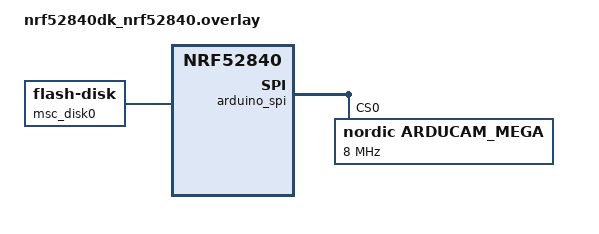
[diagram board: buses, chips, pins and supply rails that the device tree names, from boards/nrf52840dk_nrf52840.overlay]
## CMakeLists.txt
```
# SPDX-License-Identifier: Apache-2.0

# Manually add the arducam_mega module to the sample
list(APPEND ZEPHYR_EXTRA_MODULES
  ${CMAKE_CURRENT_SOURCE_DIR}/../../modules/arducam_mega
  )
  
cmake_minimum_required(VERSION 3.20.0)
find_package(Zephyr REQUIRED HINTS $ENV{ZEPHYR_BASE})
project(mass)

if((NOT CONFIG_DISK_DRIVER_FLASH) AND
   (NOT CONFIG_DISK_DRIVER_RAM) AND
   (NOT CONFIG_DISK_DRIVER_SDMMC))
	message( FATAL_ERROR "No disk access settings detected." )
endif()

FILE(GLOB app_sources src/*.c)
target_sources(app PRIVATE ${app_sources})
```

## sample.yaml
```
sample:
  name: Mass Storage
tests:
  sample.usb.mass_ram_none:
    min_ram: 64
    depends_on: usb_device
    platform_exclude: native_posix native_posix_64
    extra_configs:
        - CONFIG_LOG_DEFAULT_LEVEL=3
    tags: msd usb
    harness: console
    harness_config:
      type: one_line
      regex:
        - "The device is put in USB mass storage mode."
  sample.usb.mass_ram_fat:
    min_ram: 128
    depends_on: usb_device
    platform_exclude: native_posix native_posix_64
    extra_configs:
        - CONFIG_LOG_DEFAULT_LEVEL=3
        - CONFIG_APP_MSC_STORAGE_RAM=y
    tags: msd usb
    harness: console
    harness_config:
      type: one_line
      regex:
        - "The device is put in USB mass storage mode."
  sample.usb.mass_flash_fatfs:
    min_ram: 32
    modules:
      - fatfs
    depends_on: usb_device
    filter: dt_compat_enabled("nordic,qspi-nor")
    platform_allow: nrf52840dk_nrf52840 nrf5340dk_nrf5340_cpuapp
    extra_configs:
        - CONFIG_LOG_DEFAULT_LEVEL=3
        - CONFIG_APP_MSC_STORAGE_FLASH_FATFS=y
    tags: msd usb
    harness: console
    harness_config:
      type: one_line
      regex:
        - "The device is put in USB mass storage mode."
  sample.usb.mass_sdhc_fatfs:
    min_ram: 32
    modules:
      - fatfs
    depends_on: usb_device sdhc
    extra_configs:
        - CONFIG_LOG_DEFAULT_LEVEL=3
        - CONFIG_APP_MSC_STORAGE_SDCARD=y
    tags: msd usb
    harness: console
    harness_config:
      type: one_line
      fixture: fixture_sdcard
      regex:
        - "The device is put in USB mass storage mode."
  sample.usb.mass_flash_littlefs:
    modules:
      - littlefs
    min_ram: 32
    depends_on: usb_device
    filter: dt_compat_enabled("nordic,qspi-nor")
    platform_allow: nrf52840dk_nrf52840 nrf5340dk_nrf5340_cpuapp adafruit_feather_nrf52840
    extra_configs:
        - CONFIG_LOG_DEFAULT_LEVEL=3
        - CONFIG_APP_MSC_STORAGE_FLASH_LITTLEFS=y
    tags: msd usb
    harness: console
    harness_config:
      type: one_line
      regex:
        - "The device is put in USB mass storage mode."
```

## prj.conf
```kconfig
CONFIG_STDOUT_CONSOLE=y

#USB related configs
CONFIG_USB_DEVICE_STACK=y
CONFIG_USB_DEVICE_PRODUCT="Zephyr MSC sample"
CONFIG_LOG=y
CONFIG_USB_DRIVER_LOG_LEVEL_ERR=y
CONFIG_USB_MASS_STORAGE=y
CONFIG_APP_MSC_STORAGE_FLASH_FATFS=y
CONFIG_USB_DEVICE_LOG_LEVEL_ERR=y
CONFIG_USB_MASS_STORAGE_LOG_LEVEL_ERR=y

CONFIG_SPI=y
CONFIG_ARDUCAM_MEGA=y

CONFIG_MAIN_STACK_SIZE=1536
```

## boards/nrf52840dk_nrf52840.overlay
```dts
/*
 * Copyright (c) 2019 Peter Bigot Consulting, LLC
 *
 * SPDX-License-Identifier: Apache-2.0
 */

/delete-node/ &storage_partition;

&mx25r64 {
	partitions {
		compatible = "fixed-partitions";
		#address-cells = <1>;
		#size-cells = <1>;

		storage_partition: partition@0 {
			label = "storage";
			reg = <0x00000000 0x00800000>;
		};
	};
};

/ {
	msc_disk0 {
		compatible = "zephyr,flash-disk";
		partition = <&storage_partition>;
		disk-name = "NAND";
		cache-size = <4096>;
	};
};

&arduino_spi {
	label="ARDUCAM_MEGA";
	arducam_mega: arducam_mega@0 {
		compatible = "nordic,arducam_mega";
		reg = <0>;
		spi-max-frequency=<8000000>;
	};
};
```

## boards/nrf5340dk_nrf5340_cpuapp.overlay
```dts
/*
 * Copyright (c) 2020 Nordic Semiconductor ASA
 *
 * SPDX-License-Identifier: Apache-2.0
 */

/delete-node/ &storage_partition;

&mx25r64 {
	partitions {
		compatible = "fixed-partitions";
		#address-cells = <1>;
		#size-cells = <1>;

		storage_partition: partition@0 {
			label = "storage";
			reg = <0x00000000 0x00800000>;
		};
	};
};

/ {
	msc_disk0 {
		compatible = "zephyr,flash-disk";
		partition = <&storage_partition>;
		disk-name = "NAND";
		cache-size = <4096>;
	};
};

&arduino_spi {
	label="ARDUCAM_MEGA";
	arducam_mega: arducam_mega@0 {
		compatible = "nordic,arducam_mega";
		reg = <0>;
		spi-max-frequency=<8000000>;
	};
};
```

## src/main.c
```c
/*
 * Copyright (c) 2016 Intel Corporation.
 * Copyright (c) 2019-2020 Nordic Semiconductor ASA
 *
 * SPDX-License-Identifier: Apache-2.0
 */

#include <zephyr/kernel.h>
#include <zephyr/logging/log.h>
#include <zephyr/usb/usb_device.h>
#include <zephyr/fs/fs.h>
#include <stdio.h>
#include <arducam_mega.h>

LOG_MODULE_REGISTER(main);

#if CONFIG_DISK_DRIVER_FLASH
#include <zephyr/storage/flash_map.h>
#endif

#if CONFIG_FAT_FILESYSTEM_ELM
#include <ff.h>
#endif

#if CONFIG_FILE_SYSTEM_LITTLEFS
#include <zephyr/fs/littlefs.h>
FS_LITTLEFS_DECLARE_DEFAULT_CONFIG(storage);
#endif

#define STORAGE_PARTITION		storage_partition
#define STORAGE_PARTITION_ID		FIXED_PARTITION_ID(STORAGE_PARTITION)

static struct fs_mount_t fs_mnt;

const struct device *dev_camera;

static int setup_flash(struct fs_mount_t *mnt)
{
	int rc = 0;
#if CONFIG_DISK_DRIVER_FLASH
	unsigned int id;
	const struct flash_area *pfa;

	mnt->storage_dev = (void *)STORAGE_PARTITION_ID;
	id = STORAGE_PARTITION_ID;

	rc = flash_area_open(id, &pfa);
	printk("Area %u at 0x%x on %s for %u bytes\n",
	       id, (unsigned int)pfa->fa_off, pfa->fa_dev->name,
	       (unsigned int)pfa->fa_size);

	if (rc < 0 && IS_ENABLED(CONFIG_APP_WIPE_STORAGE)) {
		printk("Erasing flash area ... ");
		rc = flash_area_erase(pfa, 0, pfa->fa_size);
		printk("%d\n", rc);
	}

	if (rc < 0) {
		flash_area_close(pfa);
	}
#endif
	return rc;
}

static int mount_app_fs(struct fs_mount_t *mnt)
{
	int rc;

#if CONFIG_FAT_FILESYSTEM_ELM
	static FATFS fat_fs;

	mnt->type = FS_FATFS;
	mnt->fs_data = &fat_fs;
	if (IS_ENABLED(CONFIG_DISK_DRIVER_RAM)) {
		mnt->mnt_point = "/RAM:";
	} else if (IS_ENABLED(CONFIG_DISK_DRIVER_SDMMC)) {
		mnt->mnt_point = "/SD:";
	} else {
		mnt->mnt_point = "/NAND:";
	}

#elif CONFIG_FILE_SYSTEM_LITTLEFS
	mnt->type = FS_LITTLEFS;
	mnt->mnt_point = "/lfs";
	mnt->fs_data = &storage;
#endif
	rc = fs_mount(mnt);

	return rc;
}

static void setup_disk(void)
{
	struct fs_mount_t *mp = &fs_mnt;
	struct fs_dir_t dir;
	struct fs_statvfs sbuf;
	int rc;

	fs_dir_t_init(&dir);

	if (IS_ENABLED(CONFIG_DISK_DRIVER_FLASH)) {
		rc = setup_flash(mp);
		if (rc < 0) {
			LOG_ERR("Failed to setup flash area");
			return;
		}
	}

	if (!IS_ENABLED(CONFIG_FILE_SYSTEM_LITTLEFS) &&
	    !IS_ENABLED(CONFIG_FAT_FILESYSTEM_ELM)) {
		LOG_INF("No file system selected");
		return;
	}

	rc = mount_app_fs(mp);
	if (rc < 0) {
		LOG_ERR("Failed to mount filesystem");
		return;
	}

	/* Allow log messages to flush to avoid interleaved output */
	k_sleep(K_MSEC(50));

	printk("Mount %s: %d\n", fs_mnt.mnt_point, rc);

	rc = fs_statvfs(mp->mnt_point, &sbuf);
	if (rc < 0) {
		printk("FAIL: statvfs: %d\n", rc);
		return;
	}

	printk("%s: bsize = %lu ; frsize = %lu ;"
	       " blocks = %lu ; bfree = %lu\n",
	       mp->mnt_point,
	       sbuf.f_bsize, sbuf.f_frsize,
	       sbuf.f_blocks, sbuf.f_bfree);

	rc = fs_opendir(&dir, mp->mnt_point);
	printk("%s opendir: %d\n", mp->mnt_point, rc);

	if (rc < 0) {
		LOG_ERR("Failed to open directory");
	}

	while (rc >= 0) {
		struct fs_dirent ent = { 0 };

		rc = fs_readdir(&dir, &ent);
		if (rc < 0) {
			LOG_ERR("Failed to read directory entries");
			break;
		}
		if (ent.name[0] == 0) {
			printk("End of files\n");
			break;
		}
		printk("  %c %u %s\n",
		       (ent.type == FS_DIR_ENTRY_FILE) ? 'F' : 'D',
		       ent.size,
		       ent.name);
	}

	(void)fs_closedir(&dir);

	return;
}

static void img_find_free_file_name(uint8_t *out_ptr)
{
	int ret;
	uint8_t tmp_file_name[64];
	struct fs_file_t file;
	fs_file_t_init(&file);
	for(int index = 0; index < 1000; index++) {
		sprintf(tmp_file_name, "%s/image%03i.jpg", fs_mnt.mnt_point, index);
		ret = fs_open(&file, tmp_file_name, FS_O_READ);
		if(ret == 0) {
			fs_close(&file);
			continue;
		}
		// fs_open error, assume the file doesn't exist
		strcpy(out_ptr, tmp_file_name);
		return;
	}
}

void main(void)
{
	int ret;

	printk("Camera Mass Storage Example started\n");

	dev_camera = device_get_binding(DT_NODE_FULL_NAME(DT_NODELABEL(arducam_mega)));
	if(dev_camera == 0) {
		printk("ERROR: Camera device not found!\n");
		return;
	}

	setup_disk();

	for(int i = 0; i < 4; i++) {
		k_msleep(1000);
		
		// Take a number of pictures and store to the flash, before enabling the USB interface to allow 
		// reading the images over USB
		uint8_t filename[64];
		struct fs_file_t img_file;

		// Find a free file name 
		img_find_free_file_name(filename);

		// Have the camera take a picture
		arducam_mega_take_picture(dev_camera, CAM_IMAGE_MODE_VGA, CAM_IMAGE_PIX_FMT_JPG);

		// Open a new file for writing the image data into
		printk("Creating new image file: %s\n", filename);
		fs_file_t_init(&img_file);
		if(fs_open(&img_file, filename, FS_O_WRITE | FS_O_CREATE) < 0) {
			printk("File open error. Aborting\n");
			return;
		}

		// Read the image data from the camera 240 bytes at a time and write it to the file
		uint8_t data_buff[240];
		int bytes_read;
		int bytes_total = 0;
		do {
			bytes_read = arducam_mega_read_image_buf(dev_camera, data_buff, 240);
			if(fs_write(&img_file, data_buff, bytes_read) < 0) {
				printk("File write error. Aborting\n");
				return;
			}
			bytes_total += bytes_read;
			printk("\r%i", bytes_total);
		}while(bytes_read > 0);

		printk("\nImage stored to file\n");

		// Close the file
		fs_close(&img_file);
	}

	ret = usb_enable(NULL);
	if (ret != 0) {
		LOG_ERR("Failed to enable USB");
		return;
	}

	LOG_INF("The device is put in USB mass storage mode.\n");
}
```
